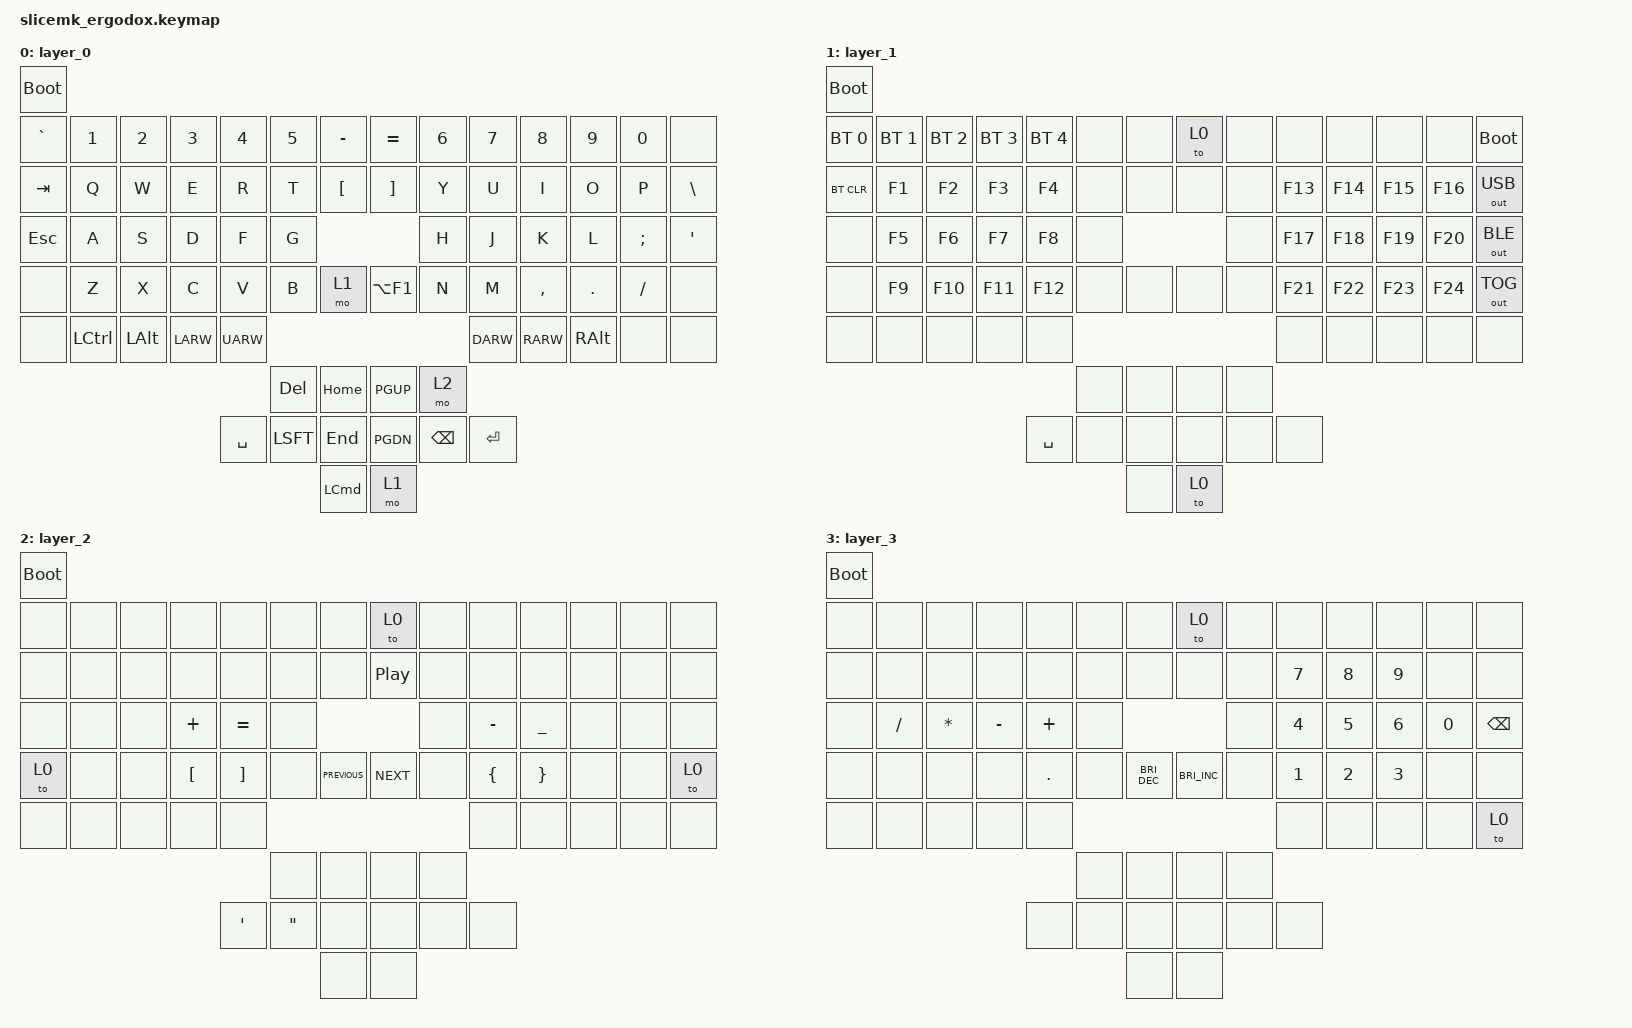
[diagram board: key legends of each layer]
#include <behaviors.dtsi>
#include <dt-bindings/zmk/bt.h>
#include <dt-bindings/zmk/keys.h>
#include <dt-bindings/zmk/outputs.h>

/ {
	keymap {
		compatible = "zmk,keymap";

		layer_0 {
			bindings = <
				&bootloader
				&kp GRAVE &kp N1       &kp N2       &kp N3       &kp N4       &kp N5       &kp MINUS  &kp EQUAL     &kp N6       &kp N7       &kp N8       &kp N9       &kp N0        &none
				&kp TAB   &kp Q        &kp W        &kp E        &kp R        &kp T        &kp LBKT   &kp RBKT      &kp Y        &kp U        &kp I        &kp O        &kp P         &kp BSLH
				&kp ESC   &kp A        &kp S        &kp D        &kp F        &kp G                                 &kp H        &kp J        &kp K        &kp L        &kp SEMICOLON &kp APOS
				&none     &kp Z        &kp X        &kp C        &kp V        &kp B        &mo 1      &kp LA(F1)    &kp N        &kp M        &kp CMMA     &kp DOT      &kp FSLH      &none
				&none     &kp LCTRL    &kp LALT     &kp LARW     &kp UARW                                                     &kp DARW     &kp RARW     &kp RALT     &none         &none
				                                                              &kp DEL      &kp HOME   &kp PGUP      &mo 2
				                                                 &kp SPC      &kp LSFT     &kp END    &kp PGDN      &kp BKSP     &kp RET
				                                                                           &kp LCMD   &mo 1
			>;
		};

		// Bluetooth and bullshit
		layer_1 {
			bindings = <
				&bootloader
				&bt BT_SEL 0 &bt BT_SEL 1 &bt BT_SEL 2 &bt BT_SEL 3 &bt BT_SEL 4 &none &none &to 0 &none &none   &none   &none   &none   &bootloader
				&bt BT_CLR   &kp F1       &kp F2       &kp F3       &kp F4       &none &none &none &none &kp F13 &kp F14 &kp F15 &kp F16 &out OUT_USB
				&none        &kp F5       &kp F6       &kp F7       &kp F8       &none             &none &kp F17 &kp F18 &kp F19 &kp F20 &out OUT_BLE
				&none        &kp F9       &kp F10      &kp F11      &kp F12      &none &none &none &none &kp F21 &kp F22 &kp F23 &kp F24 &out OUT_TOG
				&none        &none        &none        &none        &none                                &none   &none   &none   &none   &none
				                                                                 &none &none &none &none
				                                                    &kp SPACE	 &none &none &none &none &none
				                                                                       &none &to 0
			>;
		};
		layer_2 {
			bindings = <
				&bootloader
				&none &none &none &none    &none            &none             &none          &to 0            &none &none          &none           &none &none &none
				&none &none &none &none    &none            &none             &none          &kp C_PLAY_PAUSE &none &none          &none           &none &none &none
				&none &none &none &kp PLUS &kp EQUAL        &none                                             &none &kp MINUS      &kp UNDERSCORE  &none &none &none
				&to 0 &none &none &kp LBKT &kp RBKT         &none             &kp C_PREVIOUS &kp C_NEXT       &none &kp LEFT_BRACE &kp RIGHT_BRACE &none &none &to 0
				&none &none &none &none    &none                                                                    &none          &none           &none &none &none
				                                            &none             &none          &none            &none
				                           &kp SINGLE_QUOTE &kp DOUBLE_QUOTES &none          &none            &none &none
				                                                              &none          &none
			>;
		};
		layer_3 {
			bindings = <
				&bootloader
				&none &none     &none        &none     &none    &none &none                &to 0                &none &none        &none        &none        &none        &none
				&none &none     &none        &none     &none    &none &none                &none                &none &kp N7       &kp N8       &kp N9       &none        &none
				&none &kp SLASH &kp ASTERISK &kp MINUS &kp PLUS &none                                           &none &kp N4       &kp N5       &kp N6       &kp N0       &kp BACKSPACE
				&none &none     &none        &none     &kp DOT  &none &kp C_BRIGHTNESS_DEC &kp C_BRIGHTNESS_INC &none &kp N1       &kp N2       &kp N3       &none        &none
				&none &none     &none        &none     &none                                                          &none        &none        &none        &none        &to 0
				                                                &none &none                &none                &none
				                                       &none    &none &none                &none                &none &none
				                                                      &none                &none
			>;
		};
	};
};
